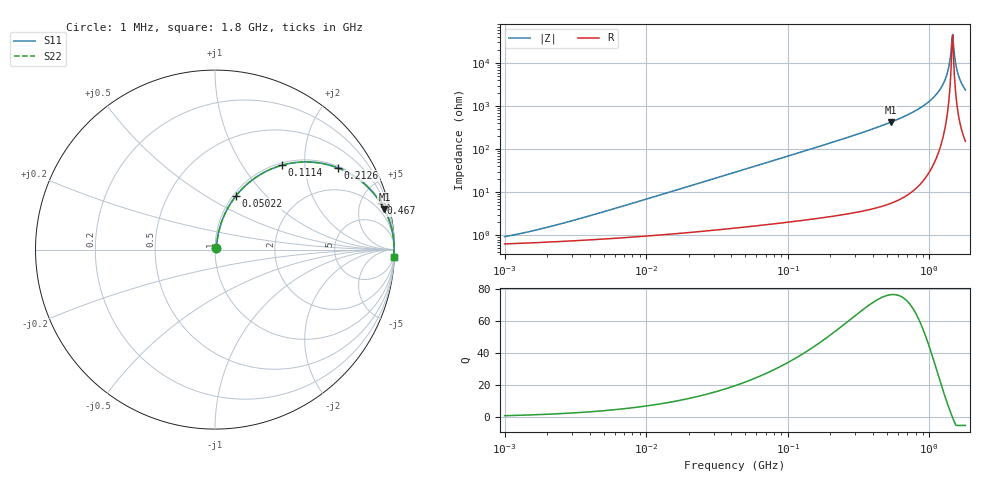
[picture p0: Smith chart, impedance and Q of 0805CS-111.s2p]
# MHz S MA R 50
!Freq  MagS11  AngS11  MagS21  AngS21  MagS12  AngS12  MagS22  AngS22
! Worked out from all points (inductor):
!   801 points, 1 MHz to 1.8 GHz, reference 50 ohm
!   read as one part in series: L = 109 nH near 3.318 MHz
!   highest Q = 76.5 at 532.5 MHz (marker M1), where L = 126 nH
!   self-resonance near 1.451 GHz
!   S11 on the Smith chart (normalised r, x): 1 MHz: 1.01, +0.01; 50.22 MHz: 1.03, +0.69; 111.4 MHz: 1.04, +1.53; 212.6 MHz: 1.06, +2.97; 467 MHz: 1.10, +7.13; 1.8 GHz: 4, -47
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1  0.00926 46.9  0.9937 -0.4  0.9937 -0.4  0.00926 46.9
3.509604  0.02503 71.0  0.9921 -1.4  0.9921 -1.4  0.02503 71.0
12.20245  0.08306 78.4  0.9866 -4.7  0.9866 -4.7  0.08306 78.4
42.42641  0.2759 71.1  0.9474 -16.0  0.9474 -16.0  0.2759 71.1
50.22037  0.3214 68.7  0.9325 -18.7  0.9325 -18.7  0.3214 68.7
111.366  0.6009 51.5  0.783 -36.9  0.783 -36.9  0.6009 51.5
148.8999  0.7096 43.5  0.6884 -45.2  0.6884 -45.2  0.7096 43.5
212.5787  0.8228 33.6  0.5531 -55.4  0.5531 -55.4  0.8228 33.6
467.0071  0.9595 15.6  0.2693 -73.6  0.2693 -73.6  0.9595 15.6
517.7063  0.968 13.8  0.2387 -75.4  0.2387 -75.4  0.968 13.8
532.4646  0.97 13.3  0.2306 -75.9  0.2306 -75.9  0.97 13.3
842.7062  0.9915 6.6  0.1146 -82.5  0.1146 -82.5  0.9915 6.6
1126.725  0.9969 3.0  0.0523 -85.1  0.0523 -85.1  0.9969 3.0
1225.857  0.9976 2.0  0.03513 -85.0  0.03513 -85.0  0.9976 2.0
1308.951  0.9979 1.3  0.02195 -83.8  0.02195 -83.8  0.9979 1.3
1371.731  0.998 0.7  0.01264 -80.4  0.01264 -80.4  0.998 0.7
1424.116  0.998 0.3  0.005398 -67.7  0.005398 -67.7  0.998 0.3
1451.053  0.9979 0.1  0.00242 -31.4  0.00242 -31.4  0.9979 0.1
1492.419  0.9979 -0.2  0.004835 63.7  0.004835 63.7  0.9979 -0.2
1563.998  0.9977 -0.8  0.01388 79.9  0.01388 79.9  0.9977 -0.8
1623.725  0.9974 -1.2  0.02132 82.5  0.02132 82.5  0.9974 -1.2
1800  0.9964 -2.4  0.04205 83.9  0.04205 83.9  0.9964 -2.4
